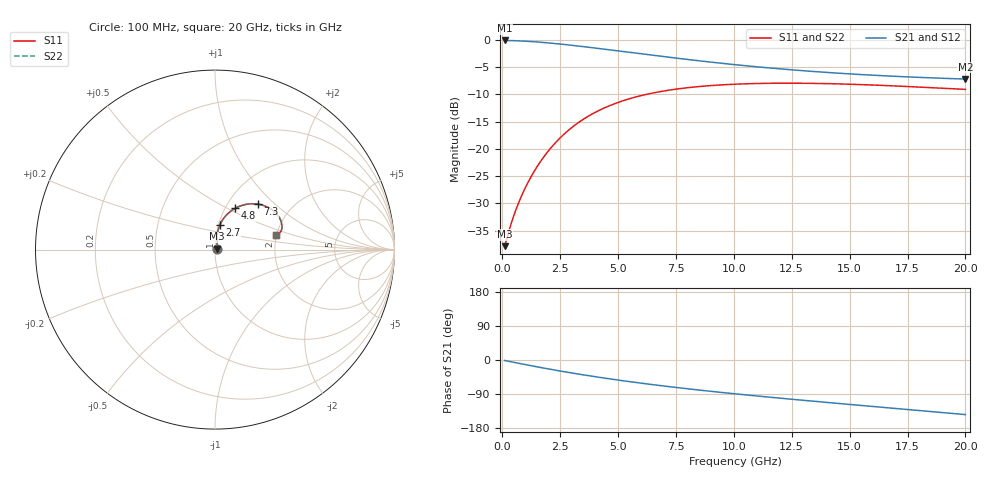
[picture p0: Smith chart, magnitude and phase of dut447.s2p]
! Touchstone file exported from HFSS 2024.1.0
!  File:  C:/UserFiles/LocalFiles/RDL_TSV_Batchsim/temp_RDL_TSV_447_1779724121.aedt
!  Generated:  12:08:55 AM May 26, 2026
!  Design:  RDL_TSV
!  Project:  temp_RDL_TSV_447_1779724121
!  Setup:  Setup1
!  Solution:  Sweep
! Variables:
!  dtsv = 5.23um
!  hbump = 3um
!  htsv = 67.96um
!  ldown = 466.53um
!  lrdl = 143.57um
!  p = 40
!  p1 = 59.57um
!  rhole = 10um
!  subl = 1973.87um
!  t = 450um
!  tdown = 3.76um
!  trdl = 2.74um
!  viad = 10um
!  wdown = 24.81um
!  wrdl = 16.29um
!  xbump = 18um
# GHz S MA R 50.000000
! Terminal data exported
! Port[1] = TM1_1_T1
! Port[2] = TM1_4_T1
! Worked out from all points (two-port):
!   200 points, 100 MHz to 20 GHz, reference 50 ohm
!   highest |S21| = -0.11 dB at 100 MHz (marker M1); lowest = -7.2 dB at 20 GHz (marker M2)
!   |S21| within 3 dB of the highest: start of sweep to 7.045 GHz
!   lowest |S11| = -37.8 dB at 100 MHz (marker M3), VSWR 1.03, Z = 51.2 + j0.463 ohm
!   |S11| at or under -10 dB: start of sweep to 6.22 GHz
!   |S22| runs from -37.8 to -7.9 dB; largest |S21 - S12| = 8.9e-15
!   S11 on the Smith chart (normalised r, x): 100 MHz: 1.02, +0.01; 2.7 GHz: 1.02, +0.28; 4.8 GHz: 1.11, +0.55; 7.3 GHz: 1.37, +0.79; 20 GHz: 1.99, +0.38
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0.1  0.01283 20.6  0.9878 -1.3  0.9878 -1.3  0.01283 20.6
! Gamma 0 0 0 0
! Port Impedance 50 0 50 0
0.4  0.02119 53.4  0.9846 -5.0  0.9846 -5.0  0.02119 53.4
0.6  0.02812 63.6  0.9815 -7.4  0.9815 -7.4  0.02812 63.6
0.9  0.03999 72.8  0.9752 -11.0  0.9752 -11.0  0.03999 72.8
1.2  0.05356 77.8  0.967 -14.6  0.967 -14.6  0.05355 77.8
1.5  0.06864 80.4  0.9571 -18.1  0.9571 -18.1  0.06864 80.4
1.9  0.09069 81.4  0.9418 -22.6  0.9418 -22.6  0.09069 81.5
2.3  0.1143 80.7  0.9247 -27.0  0.9247 -27.0  0.1143 80.8
2.7  0.1386 79.0  0.9063 -31.2  0.9063 -31.2  0.1387 79.0
3.1  0.1631 76.5  0.8871 -35.3  0.8871 -35.3  0.1632 76.6
3.5  0.1871 73.7  0.8673 -39.2  0.8673 -39.2  0.1872 73.8
4.1  0.2213 69.1  0.8374 -44.9  0.8374 -44.9  0.2214 69.2
4.8  0.2575 63.7  0.8026 -51.2  0.8026 -51.2  0.2576 63.8
5.7  0.297 57.1  0.7592 -58.8  0.7592 -58.8  0.2972 57.1
6.8  0.3348 49.6  0.7097 -67.3  0.7097 -67.3  0.335 49.7
7.3  0.3484 46.5  0.6888 -71.0  0.6888 -71.0  0.3486 46.6
8.7  0.3765 38.9  0.6357 -80.7  0.6357 -80.7  0.3768 39.0
10.1  0.3927 32.5  0.5908 -89.6  0.5908 -89.6  0.393 32.6
11.7  0.4003 26.6  0.5489 -99.1  0.5489 -99.1  0.4007 26.7
13.4  0.3992 21.6  0.5136 -108.6  0.5136 -108.6  0.3996 21.7
16.7  0.3801 15.3  0.466 -126.4  0.466 -126.4  0.3805 15.5
20  0.3516 13.6  0.4371 -144.1  0.4371 -144.1  0.352 13.8
